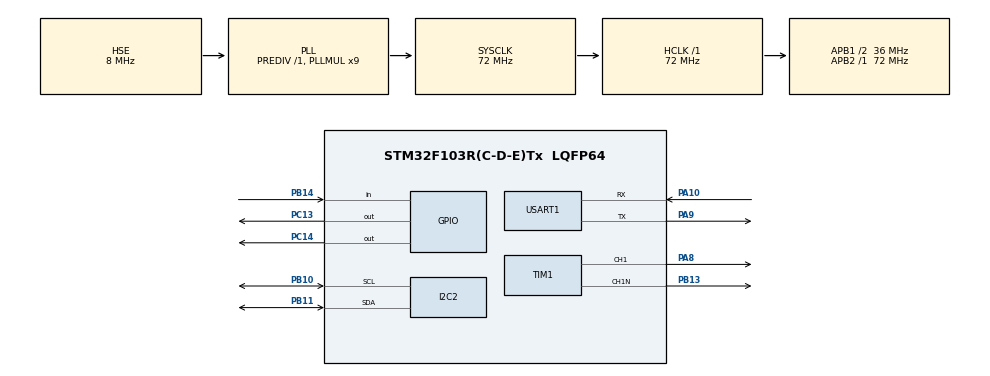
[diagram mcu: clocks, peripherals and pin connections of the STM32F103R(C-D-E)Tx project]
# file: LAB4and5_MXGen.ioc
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I2C2.I2C_Mode=I2C_Fast
Mcu.Family=STM32F1
Mcu.Name=STM32F103R(C-D-E)Tx
Mcu.Package=LQFP64
NVIC.PriorityGroup=NVIC_PRIORITYGROUP_4
PA10.Mode=Asynchronous
PA10.Signal=USART1_RX
PA8.Signal=S_TIM1_CH1
PA9.Mode=Asynchronous
PA9.Signal=USART1_TX
PB10.Mode=I2C
PB10.Signal=I2C2_SCL
PB11.Mode=I2C
PB11.Signal=I2C2_SDA
PB13.Mode=PWM Generation1 CH1 CH1N
PB13.Signal=TIM1_CH1N
PB14.Signal=GPIO_Input
PC13-TAMPER-RTC.GPIO_ModeDefaultOutputPP=GPIO_MODE_OUTPUT_OD
PC13-TAMPER-RTC.GPIO_PuPd=GPIO_NOPULL
PC13-TAMPER-RTC.Signal=GPIO_Output
PC14-OSC32_IN.GPIO_ModeDefaultOutputPP=GPIO_MODE_OUTPUT_OD
PC14-OSC32_IN.GPIO_PuPd=GPIO_NOPULL
PC14-OSC32_IN.Signal=GPIO_Output
PD0-OSC_IN.Mode=HSE-External-Oscillator
PD0-OSC_IN.Signal=RCC_OSC_IN
PD1-OSC_OUT.Mode=HSE-External-Oscillator
PD1-OSC_OUT.Signal=RCC_OSC_OUT
ProjectManager.HeapSize=0x200
ProjectManager.StackSize=0x400
ProjectManager.TargetToolchain=MDK-ARM V5
RCC.AHBFreq_Value=72000000
RCC.APB1CLKDivider=RCC_HCLK_DIV2
RCC.APB1Freq_Value=36000000
RCC.APB1TimFreq_Value=72000000
RCC.APB2Freq_Value=72000000
RCC.APB2TimFreq_Value=72000000
RCC.HCLKFreq_Value=72000000
RCC.PLLMUL=RCC_PLL_MUL9
RCC.PLLSourceVirtual=RCC_PLLSOURCE_HSE
RCC.SYSCLKFreq_VALUE=72000000
RCC.SYSCLKSource=RCC_SYSCLKSOURCE_PLLCLK
RCC.USBFreq_Value=72000000
SH.S_TIM1_CH1.0=TIM1_CH1,PWM Generation1 CH1 CH1N
TIM1.Channel-PWM\ Generation1\ CH1\ CH1N=TIM_CHANNEL_1
USART1.VirtualMode=VM_ASYNC
VP_SYS_VS_ND.Mode=No_Debug
board=custom

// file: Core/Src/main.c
/* USER CODE BEGIN Header */
/**
  ******************************************************************************
  * @file           : main.c
  * @brief          : Main program body
  ******************************************************************************
  * @attention
  *
  * Copyright (c) 2026 STMicroelectronics.
  * All rights reserved.
  *
  * This software is licensed under terms that can be found in the LICENSE file
  * in the root directory of this software component.
  * If no LICENSE file comes with this software, it is provided AS-IS.
  *
  ******************************************************************************
  */
/* USER CODE END Header */
#include "main.h"
#include "i2c.h"
#include "tim.h"
#include "usart.h"
#include "gpio.h"

/* USER CODE BEGIN Includes */
#include "mpu6050.h"
#include "inv_mpu.h"
#include "ioi2c.h"
#include "OLED.h"
#include <stdio.h>
#include <string.h>
/* USER CODE END Includes */

/* USER CODE BEGIN PV */
float pitch, roll, yaw;
/* USER CODE END PV */

void SystemClock_Config(void);

/* USER CODE BEGIN 0 */

/* Retarget printf to USART1 (Keil/ARMCC) */
int fputc(int ch, FILE *f)
{
  HAL_UART_Transmit(&huart1, (uint8_t *)&ch, 1, 10);
  return ch;
}

/* Display a float value on OLED as "+XXX.XX" at given line, starting at column */
static void OLED_ShowFloat(uint8_t Line, uint8_t Column, float val)
{
  char buf[10];
  int32_t int_part, dec_part;

  if (val >= 0) {
    int_part = (int32_t)val;
    dec_part = (int32_t)((val - int_part) * 100);
  } else {
    int_part = (int32_t)(-val);
    dec_part = (int32_t)((-val - int_part) * 100);
  }

  sprintf(buf, "%c%3d.%02d",
          (val >= 0) ? '+' : '-',
          (int)(int_part % 1000),
          (int)(dec_part % 100));
  OLED_ShowString(Line, Column, buf);
}

/* USER CODE END 0 */

int main(void)
{

  /* MCU Configuration--------------------------------------------------------*/

  /* Reset of all peripherals, Initializes the Flash interface and the Systick. */
  HAL_Init();

  /* Configure the system clock */
  SystemClock_Config();

  /* Initialize all configured peripherals */
  MX_GPIO_Init();
  MX_I2C2_Init();
  MX_TIM1_Init();
  MX_USART1_UART_Init();

  printf("\r\n=== System Boot ===\r\n");
  printf("[OK] HAL_Init, Clock, GPIO, I2C2, TIM1, USART1\r\n");

  /* USER CODE BEGIN 2 */
  printf("[..] OLED_Init start\r\n");
  OLED_Init();
  printf("[OK] OLED_Init done\r\n");

  printf("[..] OLED_ShowString \"MaoXudong\"\r\n");
  OLED_ShowString(1, 1, "MaoXudong");
  printf("[..] OLED_ShowString \"2023531071\"\r\n");
  OLED_ShowString(2, 1, "2023531071");
  printf("[OK] OLED_ShowString done\r\n");

  OLED_ShowString(1, 1, "MPU6050 Init...");
  MPU6050_Init();
  DMP_Init();

  OLED_Clear();
  OLED_ShowString(1, 1, "P:");
  OLED_ShowString(2, 1, "R:");
  OLED_ShowString(3, 1, "Y:");
  OLED_ShowString(4, 1, "  MPU6050 OK");

  /* OLED 软件 I2C 极慢(清屏~3s), 期间 FIFO 已溢出, 进循环前清空 */
  mpu_reset_fifo();
  HAL_Delay(30);
  printf("[OK] FIFO reset, entering main loop\r\n");
  /* USER CODE END 2 */

  /* Infinite loop */
  /* USER CODE BEGIN WHILE */
  {
    uint32_t last_oled_tick = 0;
    while (1)
    {

      /* USER CODE BEGIN 3 */

      /*
       * 1) 快速排空 FIFO: 把所有积压的 DMP 包读完，只保留最新值。
       *    这样即使 OLED 更新慢也不会让 FIFO 溢出。
       */
      {
        int i;
        float p_tmp, r_tmp, y_tmp;
        for (i = 0; i < 50; i++) {
          Read_DMP(&p_tmp, &r_tmp, &y_tmp);
          if (p_tmp != 0.0f || r_tmp != 0.0f || y_tmp != 0.0f) {
            pitch = p_tmp;
            roll  = r_tmp;
            yaw   = y_tmp;
          }
        }
      }

      /*
       * 2) 每 500ms 更新一次 OLED 和串口，
       *    更新完后清空 FIFO 防止下次进来就溢出。
       */
      if (HAL_GetTick() - last_oled_tick >= 500) {
        last_oled_tick = HAL_GetTick();

        printf("Pitch=%.2f\tRoll=%.2f\tYaw=%.2f\r\n", pitch, roll, yaw);
        OLED_ShowFloat(1, 3, pitch);
        OLED_ShowFloat(2, 3, roll);
        OLED_ShowFloat(3, 3, yaw);

        /* OLED 更新耗时长, 完成后清空积压的 FIFO */
        mpu_reset_fifo();
      }

      HAL_Delay(5);
      /* USER CODE END 3 */
    }
  }
  /* USER CODE END WHILE */
}

void SystemClock_Config(void)
{
  RCC_OscInitTypeDef RCC_OscInitStruct = {0};
  RCC_ClkInitTypeDef RCC_ClkInitStruct = {0};

  /** Initializes the RCC Oscillators according to the specified parameters
  * in the RCC_OscInitTypeDef structure.
  */
  RCC_OscInitStruct.OscillatorType = RCC_OSCILLATORTYPE_HSE;
  RCC_OscInitStruct.HSEState = RCC_HSE_ON;
  RCC_OscInitStruct.HSEPredivValue = RCC_HSE_PREDIV_DIV1;
  RCC_OscInitStruct.HSIState = RCC_HSI_ON;
  RCC_OscInitStruct.PLL.PLLState = RCC_PLL_ON;
  RCC_OscInitStruct.PLL.PLLSource = RCC_PLLSOURCE_HSE;
  RCC_OscInitStruct.PLL.PLLMUL = RCC_PLL_MUL9;
  if (HAL_RCC_OscConfig(&RCC_OscInitStruct) != HAL_OK)
  {
    Error_Handler();
  }

  /** Initializes the CPU, AHB and APB buses clocks
  */
  RCC_ClkInitStruct.ClockType = RCC_CLOCKTYPE_HCLK|RCC_CLOCKTYPE_SYSCLK
                              |RCC_CLOCKTYPE_PCLK1|RCC_CLOCKTYPE_PCLK2;
  RCC_ClkInitStruct.SYSCLKSource = RCC_SYSCLKSOURCE_PLLCLK;
  RCC_ClkInitStruct.AHBCLKDivider = RCC_SYSCLK_DIV1;
  RCC_ClkInitStruct.APB1CLKDivider = RCC_HCLK_DIV2;
  RCC_ClkInitStruct.APB2CLKDivider = RCC_HCLK_DIV1;

  if (HAL_RCC_ClockConfig(&RCC_ClkInitStruct, FLASH_LATENCY_2) != HAL_OK)
  {
    Error_Handler();
  }
}

void Error_Handler(void)
{
  /* USER CODE BEGIN Error_Handler_Debug */
  /* Force a UART message out before disabling IRQs */
  {
    const char msg[] = "\r\n!!! Error_Handler entered !!!\r\n";
    HAL_UART_Transmit(&huart1, (const uint8_t *)msg, sizeof(msg) - 1, 100);
  }
  __disable_irq();
  while (1)
  {
  }
  /* USER CODE END Error_Handler_Debug */
}
